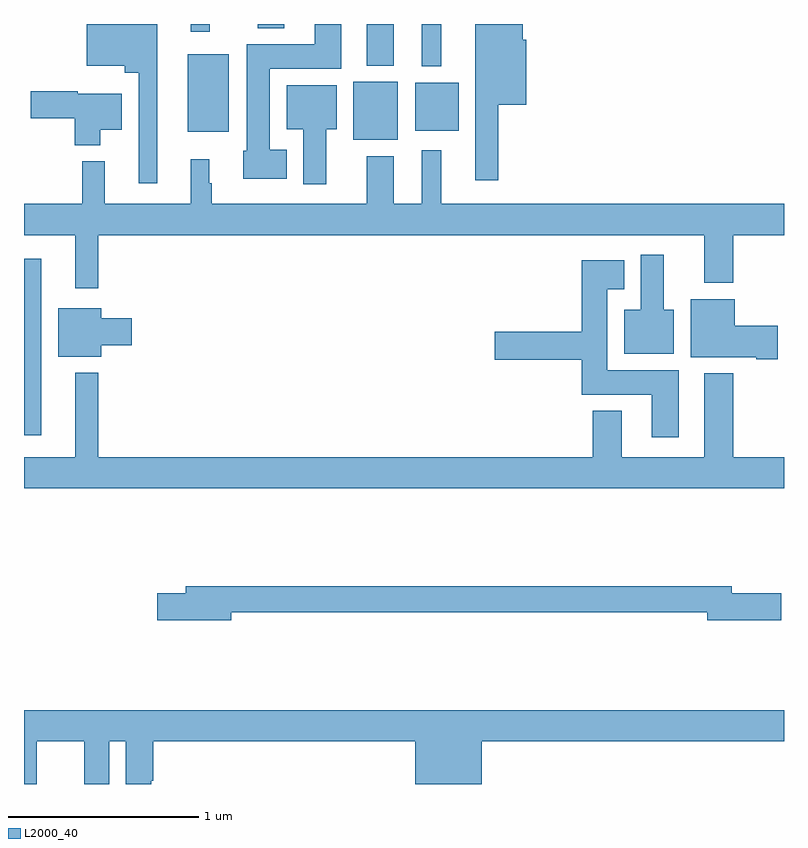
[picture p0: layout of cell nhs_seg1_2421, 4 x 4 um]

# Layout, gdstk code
import gdstk
lib = gdstk.Library(unit=1e-6, precision=1e-09)
def R(c, l, rs):  # rectangles x0, y0, x1, y1
    for r in rs: c.add(gdstk.rectangle(r[:2], r[2:], *l))
def P(c, l, *ps):  # polygons
    for p in ps: c.add(gdstk.Polygon(p, *l))
L2000_40 = (2000, 40)

nhs_seg1_2421 = lib.new_cell('nhs_seg1_2421')
R(nhs_seg1_2421, L2000_40, [(243,528.035,243.091,528.964), (244.733,529.589,244.966,529.894), (243.863,529.631,244.078,530.041), (245.06,529.637,245.287,529.891), (245.093,529.976,245.197,530.199), (244.805,529.979,244.945,530.199), (243.878,530.157,243.978,530.199), (244.229,530.177,244.369,530.199)])
P(nhs_seg1_2421, L2000_40, [(245.497,529.775),(245.644,529.775),(245.644,530.115),(245.626,530.115),(245.626,530.199),(245.375,530.199),(245.375,529.377),(245.497,529.377)],
  [(244.384,529.537),(244.294,529.537),(244.294,529.964),(244.669,529.964),(244.669,530.199),(244.529,530.199),(244.529,530.092),(244.172,530.092),(244.172,529.533),(244.154,529.533),(244.154,529.385),(244.384,529.385)],
  [(243.7,530.199),(243.33,530.199),(243.33,529.979),(243.53,529.979),(243.53,529.943),(243.603,529.943),(243.603,529.362),(243.7,529.362)],
  [(244.591,529.646),(244.645,529.646),(244.645,529.876),(244.382,529.876),(244.382,529.646),(244.469,529.646),(244.469,529.356),(244.591,529.356)],
  [(243.4,529.643),(243.514,529.643),(243.514,529.831),(243.282,529.831),(243.282,529.844),(243.036,529.844),(243.036,529.702),(243.266,529.702),(243.266,529.562),(243.4,529.562)],
  [(243.391,529.088),(246.581,529.088),(246.581,528.836),(246.734,528.836),(246.734,529.088),(247,529.088),(247,529.252),(245.197,529.252),(245.197,529.534),(245.093,529.534),(245.093,529.252),(244.945,529.252),(244.945,529.504),(244.805,529.504),(244.805,529.252),(243.988,529.252),(243.988,529.361),(243.976,529.361),(243.976,529.486),(243.878,529.486),(243.878,529.252),(243.425,529.252),(243.425,529.477),(243.307,529.477),(243.307,529.252),(243,529.252),(243,529.088),(243.269,529.088),(243.269,528.807),(243.391,528.807)],
  [(246.421,528.694),(246.367,528.694),(246.367,528.985),(246.245,528.985),(246.245,528.694),(246.158,528.694),(246.158,528.464),(246.421,528.464)],
  [(246.445,528.376),(246.07,528.376),(246.07,528.803),(246.16,528.803),(246.16,528.955),(245.936,528.955),(245.936,528.578),(245.478,528.578),(245.478,528.431),(245.936,528.431),(245.936,528.248),(246.305,528.248),(246.305,528.024),(246.445,528.024)],
  [(246.967,528.612),(246.742,528.612),(246.742,528.751),(246.509,528.751),(246.509,528.446),(246.854,528.446),(246.854,528.434),(246.967,528.434)],
  [(243.406,528.509),(243.568,528.509),(243.568,528.651),(243.406,528.651),(243.406,528.703),(243.179,528.703),(243.179,528.449),(243.406,528.449)],
  [(247,527.92),(246.734,527.92),(246.734,528.361),(246.581,528.361),(246.581,527.92),(246.145,527.92),(246.145,528.163),(245.993,528.163),(245.993,527.92),(243.391,527.92),(243.391,528.364),(243.269,528.364),(243.269,527.92),(243,527.92),(243,527.756),(247,527.756)],
  [(244.09,527.104),(246.596,527.104),(246.596,527.062),(246.985,527.062),(246.985,527.204),(246.724,527.204),(246.724,527.24),(243.851,527.24),(243.851,527.204),(243.702,527.204),(243.702,527.062),(244.09,527.062)],
  [(243,526.199),(243.066,526.199),(243.066,526.216),(243.067,526.216),(243.067,526.424),(243.317,526.424),(243.317,526.216),(243.318,526.216),(243.318,526.199),(243.448,526.199),(243.448,526.424),(243.536,526.424),(243.536,526.199),(243.67,526.199),(243.67,526.216),(243.68,526.216),(243.68,526.424),(245.06,526.424),(245.06,526.199),(245.41,526.199),(245.41,526.424),(247,526.424),(247,526.588),(243,526.588)])

lib.write_gds('nhs_seg1_2421.gds')
